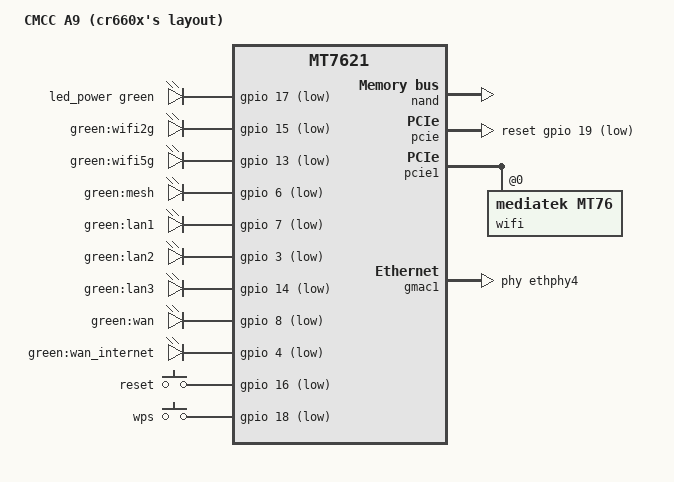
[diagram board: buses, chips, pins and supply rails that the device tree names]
// SPDX-License-Identifier: GPL-2.0-or-later OR MIT

#include "mt7621.dtsi"

#include <dt-bindings/gpio/gpio.h>
#include <dt-bindings/input/input.h>
#include <dt-bindings/leds/common.h>

/ {
	compatible = "cmcc,a9-cr660xlayout", "mediatek,mt7621-soc";
	model = "CMCC A9 (cr660x's layout)";

	aliases {
		led-boot = &led_power;
		led-failsafe = &led_power;
		led-running = &led_power;
		led-upgrade = &led_power;
		label-mac-device = &gmac0;
	};

	chosen {
		bootargs = "console=ttyS0,115200n8";
	};

	leds {
		compatible = "gpio-leds";

		led_power: power {
			function = LED_FUNCTION_POWER;
			color = <LED_COLOR_ID_GREEN>;
			gpios = <&gpio 17 GPIO_ACTIVE_LOW>;
			default-state = "on";
		};

		wifi2g {
			label = "green:wifi2g";
			gpios = <&gpio 15 GPIO_ACTIVE_LOW>;
		};

		wifi5g {
			label = "green:wifi5g";
			gpios = <&gpio 13 GPIO_ACTIVE_LOW>;
		};

		mesh {
			label = "green:mesh";
			gpios = <&gpio 6 GPIO_ACTIVE_LOW>;
		};

		lan1 {
			label = "green:lan1";
			gpios = <&gpio 7 GPIO_ACTIVE_LOW>;
		};

		lan2 {
			label = "green:lan2";
			gpios = <&gpio 3 GPIO_ACTIVE_LOW>;
		};

		lan3 {
			label = "green:lan3";
			gpios = <&gpio 14 GPIO_ACTIVE_LOW>;
		};

		wan {
			label = "green:wan";
			gpios = <&gpio 8 GPIO_ACTIVE_LOW>;
		};

		wan_internet {
			label = "green:wan_internet";
			gpios = <&gpio 4 GPIO_ACTIVE_LOW>;
		};
	};

	keys {
		compatible = "gpio-keys";

		reset {
			label = "reset";
			gpios = <&gpio 16 GPIO_ACTIVE_LOW>;
			linux,code = <KEY_RESTART>;
		};

		wps {
			label = "wps";
			gpios = <&gpio 18 GPIO_ACTIVE_LOW>;
			linux,code = <KEY_WPS_BUTTON>;
		};
	};
};

&nand {
	status = "okay";

	partitions {
		compatible = "fixed-partitions";
		#address-cells = <1>;
		#size-cells = <1>;

		partition@0 {
			label = "Bootloader";
			reg = <0x0 0x80000>;
			read-only;
		};

		partition@80000 {
			label = "Nvram";
			reg = <0x80000 0x40000>;
			read-only;
		};

		partition@c0000 {
			label = "Bdata";
			reg = <0xc0000 0x40000>;
			read-only;
		};

		factory: partition@100000 {
			label = "Factory";
			reg = <0x100000 0x80000>;
			read-only;

			nvmem-layout {
				compatible = "fixed-layout";
				#address-cells = <1>;
				#size-cells = <1>;

				eeprom_factory_0: eeprom@0 {
					reg = <0x0 0xe00>;
				};

				macaddr_factory_3fff4: macaddr@3fff4 {
					reg = <0x3fff4 0x6>;
				};

				macaddr_factory_3fffa: macaddr@3fffa {
					reg = <0x3fffa 0x6>;
				};
			};
		};

		partition@180000 {
			label = "crash";
			reg = <0x180000 0x40000>;
			read-only;
		};

		partition@1c0000 {
			label = "crash_log";
			reg = <0x1c0000 0x40000>;
			read-only;
		};

		partition@200000 {
			label = "kernel";
			reg = <0x200000 0x400000>;
		};

		partition@600000 {
			label = "ubi";
			reg = <0x600000 0x7980000>;
		};

		/* last 512 KiB are reserved for the NAND bad block table */
	};
};

&pcie {
	status = "okay";
	reset-gpios = <&gpio 19 GPIO_ACTIVE_LOW>;
};

&pcie1 {
	wifi@0,0 {
		compatible = "mediatek,mt76";
		reg = <0x0000 0 0 0 0>;
		nvmem-cells = <&eeprom_factory_0>;
		nvmem-cell-names = "eeprom";
		mediatek,disable-radar-background;
	};
};

&gmac0 {
	nvmem-cells = <&macaddr_factory_3fff4>;
	nvmem-cell-names = "mac-address";
};

&gmac1 {
	status = "okay";
	label = "wan";
	phy-handle = <&ethphy4>;

	nvmem-cells = <&macaddr_factory_3fffa>;
	nvmem-cell-names = "mac-address";
};

&ethphy4 {
	/delete-property/ interrupts;
};

&switch0 {
	ports {
		port@0 {
			status = "disabled";
		};

		port@1 {
			status = "okay";
			label = "lan1";
		};

		port@2 {
			status = "okay";
			label = "lan3";
		};

		port@3 {
			status = "okay";
			label = "lan2";
		};
	};
};

&state_default {
	gpio {
		groups = "i2c", "jtag", "uart3", "wdt";
		function = "gpio";
	};
};
